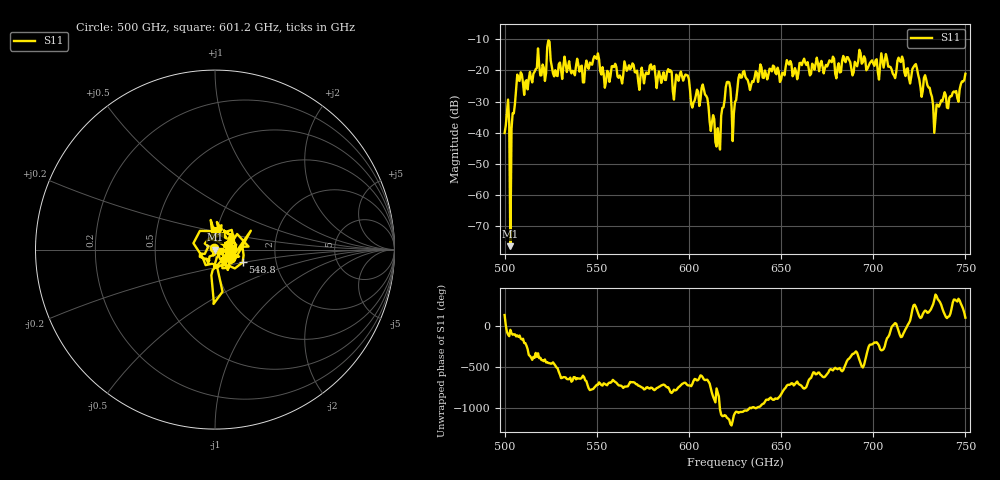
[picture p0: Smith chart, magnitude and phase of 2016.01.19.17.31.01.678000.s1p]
!Created with skrf (http://scikit-rf.org).
# GHz S RI R 50.0
!freq ReS11 ImS11
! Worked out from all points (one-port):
!   401 points, 500 GHz to 750 GHz, reference 50 ohm
!   lowest |S11| = -76.4 dB at 503.1 GHz (marker M1), VSWR 1.00, Z = 50 - j0.0114 ohm
!   |S11| at or under -10 dB: start of sweep to end of sweep
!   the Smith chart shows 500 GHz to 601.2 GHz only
!   S11 on the Smith chart (normalised r, x): 500 GHz: 0.99, +0.01; 548.8 GHz: 1.35, -0.20; 601.2 GHz: 1.06, -0.01
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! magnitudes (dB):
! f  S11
! 500 GHz  -40.1
! 501.2 GHz  -33.5
! 501.9 GHz  -29.3
! 503.1 GHz  -76.4
! 504.4 GHz  -33.7
! 505.6 GHz  -30.6
! 508.1 GHz  -23.4
! 521.2 GHz  -19.1
! 524.4 GHz  -10.8
! 527.5 GHz  -19.9
! 531.2 GHz  -22.7
! 548.8 GHz  -15.4
! 562.5 GHz  -21.6
! 593.8 GHz  -22.2
! 598.8 GHz  -21.5
! 601.2 GHz  -30.9
! 608.1 GHz  -26.1
! 615.6 GHz  -38.5
! 621.2 GHz  -23.7
! 625 GHz  -30.1
! 628.8 GHz  -22.2
! 656.2 GHz  -21.9
! 687.5 GHz  -17.3
! 715 GHz  -17.3
! 718.8 GHz  -19.3
! 728.8 GHz  -22.9
! 734.4 GHz  -31.0
! 750 GHz  -21.1
